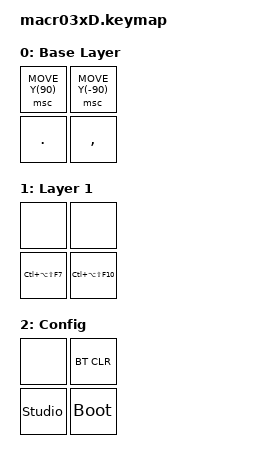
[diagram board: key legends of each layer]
#include <behaviors.dtsi>
#include <dt-bindings/zmk/keys.h>
#include <dt-bindings/zmk/bt.h>
#include <dt-bindings/zmk/mouse.h>
#include <dt-bindings/zmk/pointing.h>

&sl {
    release-after-ms = <60000>;
};

/ {    
    combos {
        compatible = "zmk,combos";
        
        combo_stu_unlock {
            timeout-ms = <60>;
            key-positions = <0 1>;
            bindings = <&studio_unlock >;
        };
        combo_boot {
            timeout-ms = <60>;
            key-positions = <0 1 2 3>;
            bindings = <&studio_unlock >;
        };
        combo_cl {
            timeout-ms = <60>;
            key-positions = <1 2 3>;
            bindings = <&bt BT_CLR >;
        };
    };
    
    keymap {
        compatible = "zmk,keymap";
            
        base_layer {
            display-name = "Base Layer";
            bindings = <
                /* Map Arrow Up / Down to scroll TikTok */
                &msc MOVE_Y(90)   /* Scroll Up / Previous Video */
                &msc MOVE_Y(-90)  /* Scroll Down / Next Video */                                
                &kp DOT                                  
                &kp COMMA 
            >;
        }; 
        
        macro_layer_1 {
            display-name = "Layer 1";
            bindings = <
                &none                        
                &none                                   
                &kp LC(LA(LS(F7)))   
                &kp LC(LA(LS(F10)))  
            >;
        }; 

        extra_layer_2 {
            status = "reserved";
        };
        
        extra_layer_3 {
            status = "reserved";
        };
        
        config_layer_4 {
            display-name = "Config";
            
            bindings = <
                &none                  
                &bt BT_CLR                                  
                &studio_unlock        
                &bootloader    
            >;
        }; 

    };
};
